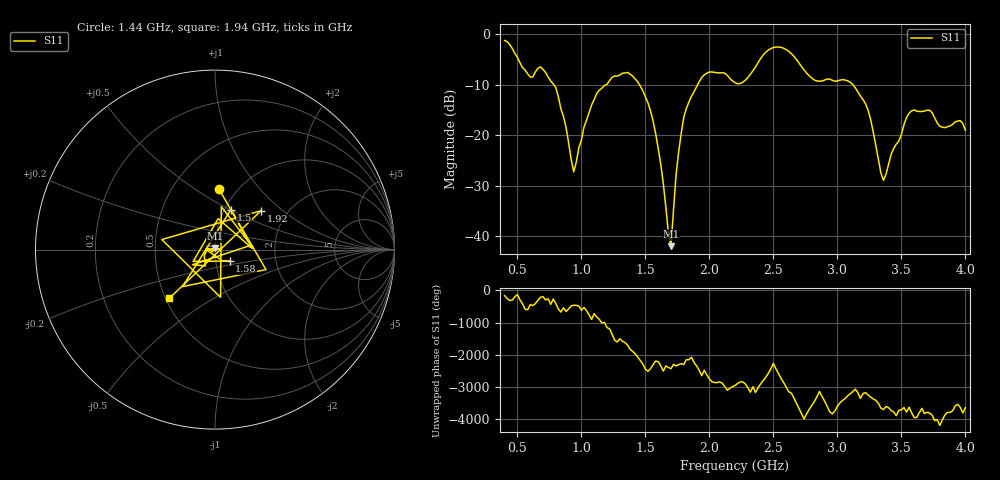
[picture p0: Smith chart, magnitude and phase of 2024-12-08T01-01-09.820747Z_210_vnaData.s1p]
!Created with skrf (http://scikit-rf.org).
# Hz S RI R 50.0
!freq ReS11 ImS11
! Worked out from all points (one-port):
!   181 points, 400 MHz to 4 GHz, reference 50 ohm
!   lowest |S11| = -41.9 dB at 1.7 GHz (marker M1), VSWR 1.02, Z = 50.1 + j0.799 ohm
!   |S11| at or under -10 dB: 783.5 MHz to 1.196 GHz (412.9 MHz wide, 41.7 % of centre); 1.453 GHz to 1.909 GHz (456 MHz wide, 27.1 % of centre); 3.12 GHz to end of sweep
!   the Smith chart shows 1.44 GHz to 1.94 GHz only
!   S11 on the Smith chart (normalised r, x): 1.44 GHz: 0.83, +0.63; 1.5 GHz: 1.07, +0.51; 1.58 GHz: 1.17, -0.15; 1.92 GHz: 1.48, +0.72; 1.94 GHz: 0.52, -0.33
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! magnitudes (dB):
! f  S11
! 400 MHz  -1.3
! 600 MHz  -8.5
! 720 MHz  -7.6
! 800 MHz  -10.6
! 860 MHz  -16.3
! 940 MHz  -27.2
! 1.02 GHz  -18.4
! 1.12 GHz  -11.8
! 1.3 GHz  -8.1
! 1.44 GHz  -9.5
! 1.5 GHz  -12.4
! 1.58 GHz  -19.7
! 1.7 GHz  -41.9
! 1.76 GHz  -23.3
! 1.8 GHz  -16.4
! 1.92 GHz  -9.5
! 1.94 GHz  -8.6
! 2.2 GHz  -9.6
! 2.48 GHz  -2.9
! 2.66 GHz  -4.4
! 2.82 GHz  -9.1
! 3.1 GHz  -9.6
! 3.24 GHz  -15.1
! 3.36 GHz  -28.9
! 3.56 GHz  -15.7
! 3.72 GHz  -15.1
! 3.8 GHz  -18.2
! 4 GHz  -19.0
